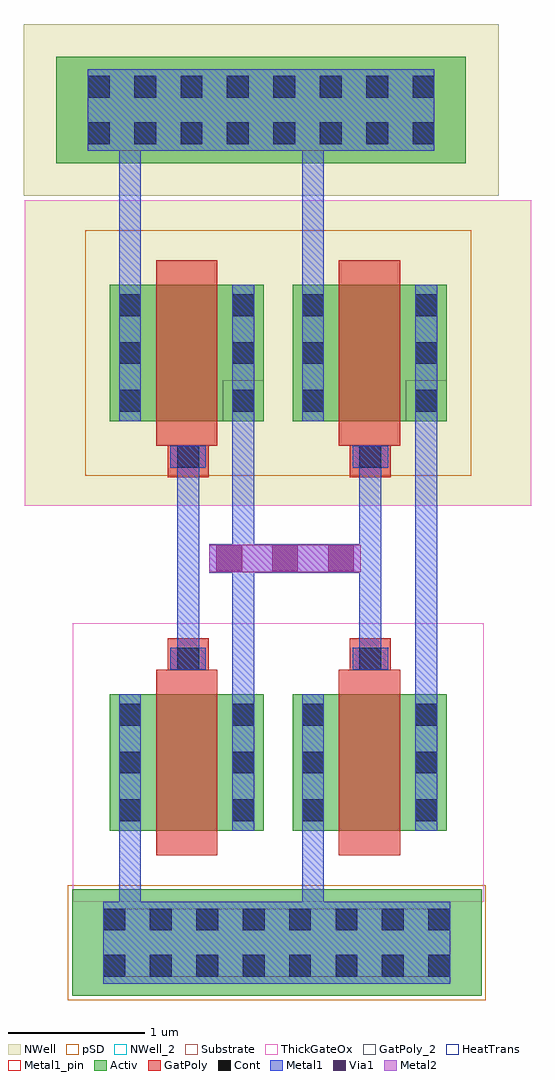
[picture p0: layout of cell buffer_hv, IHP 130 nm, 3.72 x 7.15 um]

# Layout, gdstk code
import gdstk
lib = gdstk.Library(unit=1e-6, precision=1e-09)
def R(c, l, rs):  # rectangles x0, y0, x1, y1
    for r in rs: c.add(gdstk.rectangle(r[:2], r[2:], *l))
def A(c, l, x, y, w, h, nx, ny, dx, dy):  # array of equal rectangles
    R(c, l, [(x+i*dx, y+j*dy, x+i*dx+w, y+j*dy+h) for i in range(nx) for j in range(ny)])
Activ = (1, 0)
GatPoly = (5, 0)
GatPoly_2 = (5, 2)
Cont = (6, 0)
Metal1 = (8, 0)
Metal1_pin = (8, 2)
Metal2 = (10, 0)
pSD = (14, 0)
Via1 = (19, 0)
NWell = (31, 0)
NWell_2 = (31, 2)
Substrate = (40, 0)
ThickGateOx = (44, 0)
HeatTrans = (51, 0)

nmoshv = lib.new_cell('nmosHV')
R(nmoshv, Activ, [(0,0,0.3,0.3), (0,0,1.13,1), (0.83,0,1.13,0.3)])
R(nmoshv, GatPoly, [(0.34,-0.18,0.79,1.18)])
R(nmoshv, GatPoly_2, [(0.34,-0.18,0.79,1.18)])
A(nmoshv, Cont, 0.07, 0.07, 0.16, 0.16, 1, 3, 0, 0.35)
A(nmoshv, Cont, 0.9, 0.07, 0.16, 0.16, 1, 3, 0, 0.35)
R(nmoshv, Metal1, [(0.07,0,0.23,1), (0.9,0,1.06,1)])
R(nmoshv, Metal1_pin, [(0.07,0,0.23,1), (0.9,0,1.06,1)])
R(nmoshv, ThickGateOx, [(-0.27,-0.52,1.4,1.52)])
R(nmoshv, HeatTrans, [(0.34,-0.18,0.79,1.18)])
nmoshv.add(gdstk.Label('nmosHV', (0.565,0.5), layer=63, texttype=0))
nmoshv.add(gdstk.Label('nmosHV', (0.565,0.5), layer=51, texttype=0))

pmoshv = lib.new_cell('pmosHV')
R(pmoshv, Activ, [(0,0,0.3,0.3), (0,0,1.13,1), (0.83,0,1.13,0.3)])
R(pmoshv, GatPoly, [(0.34,-0.18,0.79,1.18)])
R(pmoshv, GatPoly_2, [(0.34,-0.18,0.79,1.18)])
A(pmoshv, Cont, 0.07, 0.07, 0.16, 0.16, 1, 3, 0, 0.35)
A(pmoshv, Cont, 0.9, 0.07, 0.16, 0.16, 1, 3, 0, 0.35)
R(pmoshv, Metal1, [(0.07,0,0.23,1), (0.9,0,1.06,1)])
R(pmoshv, Metal1_pin, [(0.07,0,0.23,1), (0.9,0,1.06,1)])
R(pmoshv, pSD, [(-0.18,-0.4,1.31,1.4)])
R(pmoshv, NWell, [(-0.62,-0.62,1.75,1.62)])
R(pmoshv, Substrate, [(0.83,0,1.13,0.3)])
R(pmoshv, ThickGateOx, [(-0.62,-0.62,1.75,1.62)])
R(pmoshv, HeatTrans, [(0.34,-0.18,0.79,1.18)])
pmoshv.add(gdstk.Label('pmosHV', (0.565,0.5), layer=63, texttype=0))
pmoshv.add(gdstk.Label('pmos', (0.565,0.5), layer=51, texttype=0))

ptap1 = lib.new_cell('ptap1')
R(ptap1, Activ, [(0,0,3,0.78)])
A(ptap1, Cont, 0.23, 0.14, 0.16, 0.16, 8, 2, 0.34, 0.34)
R(ptap1, Metal1, [(0.23,0.09,2.77,0.69), (0.23,0.14,2.77,0.64)])
R(ptap1, Metal1_pin, [(0.23,0.14,2.77,0.64)])
R(ptap1, pSD, [(-0.03,-0.03,3.03,0.81)])
R(ptap1, Substrate, [(0,0,3,0.78)])
ptap1.add(gdstk.Label('sub!', (1.5,0.01), layer=63, texttype=0))
ptap1.add(gdstk.Label('sub!', (1.5,0.01), layer=40, texttype=0))

ntap1 = lib.new_cell('ntap1')
R(ntap1, Activ, [(0,0,3,0.78)])
A(ntap1, Cont, 0.23, 0.14, 0.16, 0.16, 8, 2, 0.34, 0.34)
R(ntap1, Metal1, [(0.23,0.09,2.77,0.69)])
R(ntap1, Metal1_pin, [(0.23,0.09,2.77,0.69), (0.23,0.14,2.77,0.64)])
R(ntap1, NWell, [(-0.24,-0.24,3.24,1.02), (0,0,3,0.78)])
R(ntap1, NWell_2, [(0,0,3,0.78)])
ntap1.add(gdstk.Label('well', (1.5,0.01), layer=63, texttype=0))
ntap1.add(gdstk.Label('well', (1.5,0.01), layer=31, texttype=0))

via = lib.new_cell('Via')
R(via, GatPoly, [(-0.15,-0.15,0.15,0.15)])
R(via, Cont, [(-0.08,-0.08,0.08,0.08)])
R(via, Metal1, [(-0.13,-0.08,0.13,0.08)])

via_3 = lib.new_cell('Via$3')
R(via_3, Metal1, [(-0.555,-0.105,0.555,0.105)])
R(via_3, Metal2, [(-0.555,-0.1,0.555,0.1)])
A(via_3, Via1, -0.505, -0.095, 0.19, 0.19, 3, 1, 0.41, 0)

buffer_hv = lib.new_cell('buffer_hv')
buffer_hv.add(gdstk.FlexPath([(14.29,14.39),(14.29,15.87)], 0.16, ends="flush", simple_path=True, layer=8, datatype=0))  # Metal1
buffer_hv.add(gdstk.FlexPath([(13.865,17.13),(13.865,18.16)], 0.16, ends="flush", simple_path=True, layer=8, datatype=0))  # Metal1
buffer_hv.add(gdstk.FlexPath([(13.865,13.13),(13.865,12.56)], 0.16, ends="flush", simple_path=True, layer=8, datatype=0))  # Metal1
buffer_hv.add(gdstk.FlexPath([(14.695,14.13),(14.695,16.13)], 0.16, ends="flush", simple_path=True, layer=8, datatype=0))  # Metal1
buffer_hv.add(gdstk.FlexPath([(15.625,14.39),(15.625,15.87)], 0.16, ends="flush", simple_path=True, layer=8, datatype=0))  # Metal1
buffer_hv.add(gdstk.FlexPath([(16.035,16.13),(16.035,14.13)], 0.16, ends="flush", simple_path=True, layer=8, datatype=0))  # Metal1
buffer_hv.add(gdstk.FlexPath([(15.205,17.13),(15.205,18.11)], 0.16, ends="flush", simple_path=True, layer=8, datatype=0))  # Metal1
buffer_hv.add(gdstk.FlexPath([(15.205,13.13),(15.205,12.56)], 0.16, ends="flush", simple_path=True, layer=8, datatype=0))  # Metal1
buffer_hv.add(gdstk.FlexPath([(14.695,15.125),(14.695,15.125)], 0.16, ends="flush", simple_path=True, layer=8, datatype=0))  # Metal1
buffer_hv.add(gdstk.FlexPath([(14.37,14.885),(14.37,14.885)], 0.16, ends="flush", simple_path=True, layer=5, datatype=0))  # GatPoly
buffer_hv.add(gdstk.FlexPath([(15.705,14.885),(15.705,14.885)], 0.16, ends="flush", simple_path=True, layer=5, datatype=0))  # GatPoly
buffer_hv.add(gdstk.Reference(nmoshv, (13.715,13.13)))
buffer_hv.add(gdstk.Reference(pmoshv, (13.715,16.13)))
buffer_hv.add(gdstk.Reference(ptap1, (13.44,11.92)))
buffer_hv.add(gdstk.Reference(ntap1, (13.325,18.02)))
buffer_hv.add(gdstk.Reference(via, (14.29,14.39)))
buffer_hv.add(gdstk.Reference(via, (14.29,15.87)))
buffer_hv.add(gdstk.Reference(nmoshv, (15.055,13.13)))
buffer_hv.add(gdstk.Reference(pmoshv, (15.055,16.13)))
buffer_hv.add(gdstk.Reference(via, (15.625,14.39)))
buffer_hv.add(gdstk.Reference(via, (15.625,15.87)))
buffer_hv.add(gdstk.Reference(via_3, (15,15.125)))

lib.write_gds('buffer_hv.gds')
